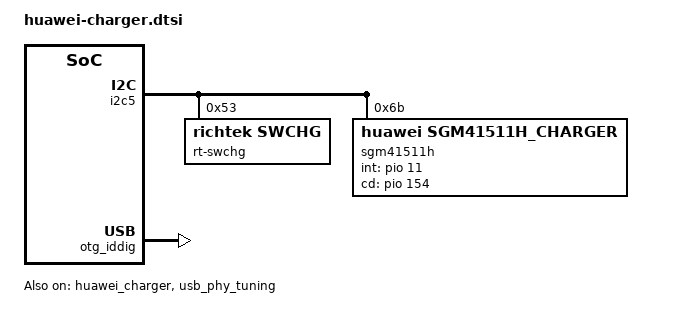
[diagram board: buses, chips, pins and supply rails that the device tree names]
&i2c5 {
	rt-swchg@53 {
		compatible = "richtek,swchg";
		reg = <0x53>;
		status = "okay";
		rt9466 {
			rt,ceb_gpio = <&pio 154 0>;
			rt,ceb_gpio_num = <154>;
			rt,intr_gpio = <&pio 11 0>;
			rt,intr_gpio_num = <11>; /* direct defined GPIO num */
			interrupt-names = "wdtmri", "chg_mivr", "chg_aiclmeasi",
				"chg_statci";
			status = "okay";
			charger_name = "primary_chg";
			ichg = <1000000>; /* uA */
			aicr = <500000>; /* uA */
			mivr = <4700000>; /* uV */
			cv = <4400000>; /* uV */
			ieoc = <150000>; /* uA */
			safety_timer = <20>; /* hour */
			ircmp_resistor = <80000>; /* uohm */
			ircmp_vclamp = <96000>; /* uV */
			en-safe-tmr;
			en_te;
			en_wdt;
		};

		rt9471 {
			rt,ceb_gpio = <&pio 154 0>;
			rt,intr_gpio_num = <11>; /* direct defined GPIO num */
			rt,intr_gpio = <&pio 11 0>; /* GPIO */
			charger_name = "rt9471";
			rm-slave-addr = /bits/ 8 <0x53>;
			rm-name = "rt9471";
			interrupt-names = "wdt", "vac_ov", "otg_fault";
			ichg = <1000>; /* mA */
			aicr = <500>; /* mA */
			mivr = <4700>; /* mV */
			cv = <4400>; /* mV */
			ieoc = <150>; /* mA */
			safe-tmr = <20>; /* hour */
			wdt = <40>; /* sec */
			mivr-track = <0>;
			en-safe-tmr;
			en-te;
			en-qon-rst;
		};
	};

	sgm41511h@6b {
		compatible = "huawei,sgm41511h_charger";
		status = "okay";
		reg = <0x6B>;
		gpio_int = <&pio 11 0>;
		gpio_cd = <&pio 154 0>;
		custom_cv = <4400>;
	};
};

&charger {
	ac_charger_current = <1500000>;
	ac_charger_input_current = <1000000>;
	non_std_ac_charger_current = <1100000>;
	dpm_enable;
	vdpm_buf_limit = <100>;
	vdpm_para =
			"-32767", "4000", "4200", "50",
			"4000", "4200", "4400", "50",
			"4200", "32767", "4600", "50";
};

&huawei_charger {
	compatible = "huawei,charger";
	status = "okay";
};

&lk_charger{
	ac_charger_current = <1000000>;
	ac_charger_input_current = <1000000>;
	non_std_ac_charger_current = <1050000>;
};

&mt6370_pmu{
	charger {
		status = "disabled";
	};
};

&otg_iddig {
	interrupt-parent = <&pio>;
	interrupts = <41 IRQ_TYPE_LEVEL_LOW 41 0>;
	otg_bigcurr_disable;
	status = "okay";
};

&bat_gm30 {
	bat_para =
			"ScudAtl", "236000", "351000",
			"DesayByd", "828000", "972000";
	batt_id_channel = <4>;
	#include "../scud_atl_4v40_4980mah_ext.dtsi"
	#include "../desay_byd_4v40_4980mah_ext.dtsi"
};

&usb_phy_tuning {
	d_u2_vrt_ref = <7>;
	d_u2_term_ref = <2>;
	d_u2_enhance = <3>;
	h_u2_vrt_ref = <7>;
	h_u2_term_ref = <3>;
	h_u2_enhance = <2>;
	status = "okay";
};
